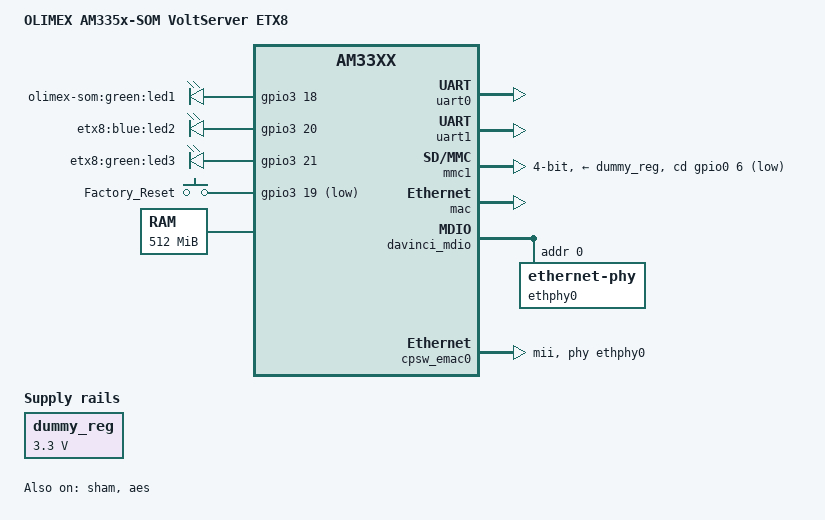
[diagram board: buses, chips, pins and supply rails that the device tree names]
/*
 * Copyright (C) 2012 Texas Instruments Incorporated - http://www.ti.com/
 *
 * This program is free software; you can redistribute it and/or modify
 * it under the terms of the GNU General Public License version 2 as
 * published by the Free Software Foundation.
 */
/dts-v1/;

#include "am33xx.dtsi"
#include <dt-bindings/pwm/pwm.h>
#include <dt-bindings/interrupt-controller/irq.h>

/ {
	model = "OLIMEX AM335x-SOM VoltServer ETX8";
	compatible = "olimex,am335x_som", "ti,am33xx";

	chosen {
		stdout-path = &uart0;
		tick-timer = &timer2;
	};

	leds: leds {
		compatible = "gpio-leds";
	};

  gpio_keys: gpio_keys {
		compatible = "gpio-keys";
	};

	memory {
		device_type = "memory";
		reg = <0x80000000 0x20000000>; /* 512 MB */
	};

	dummy_reg: regulator@0 {
		compatible = "regulator-fixed";
		regulator-name = "dummy_regulator";
		regulator-min-microvolt = <3300000>;
		regulator-max-microvolt = <3300000>;
	};
};

&leds {
  pinctrl-names = "default";
  pinctrl-0 = <&usr_led_pins_default>, <&evb_leds_pins_default>;

  led@0 {
    label = "olimex-som:green:led1";
    gpios = <&gpio3 18 GPIO_ACTIVE_HIGH>;
    linux,default-trigger = "heartbeat";
    default-state = "off";
  };

  led@1 {
    label = "etx8:blue:led2"; // red on the Olimex EVB
    gpios = <&gpio3 20 GPIO_ACTIVE_HIGH>;
    linux,default-trigger = "none"; // "mmc0"
    default-state = "off";
  };

  led@2 {
    label = "etx8:green:led3"; // yellow on the Olimex EVB
    gpios = <&gpio3 21 GPIO_ACTIVE_HIGH>;
    linux,default-trigger = "heartbeat"; // "cpu0"
    default-state = "off";
  };
};
&am33xx_pinmux {
	usr_led_pins_default: usr_led_pins_default {
		pinctrl-single,pins = <
			0x1a0 ( PIN_OUTPUT | MUX_MODE7 ) /* (B12) mcasp0_aclkr.gpio3_18 */
		>;
	};

	evb_leds_pins_default: evb_leds_pins_default {
		pinctrl-single,pins = <
			0x1a8 ( PIN_OUTPUT | MUX_MODE7 ) /* (D13) mcasp0_axr1.gpio3_20 */
			0x1ac ( PIN_OUTPUT | MUX_MODE7 ) /* (A14) mcasp0_ahclkx.gpio3_21 */
		>;
	};
};

&gpio_keys {
		label = "gpio keys";

		factory_reset {
			label = "Factory_Reset";
			linux,code = <87>; /* F11 key */
			gpios = <&gpio3 19 GPIO_ACTIVE_LOW>; // pin 35 on AM_CON-LCD header
			debounce-interval = <50>;
		};
};

&am33xx_pinmux {
  pinctrl-0 = <&gpio3_pins>;
	gpio3_pins: pinmux_gpio3_pins {
		pinctrl-single,pins = <
      0x1e4 (PIN_INPUT_PULLUP | MUX_MODE7) /* (C13) emu0.gpio3_19 */
			/*0x1e4 (PIN_INPUT_PULLUP | MUX_MODE7) /* (C14) emu0.gpio3_7 */
			/*0x1e8 (PIN_INPUT_PULLUP | MUX_MODE7) /* (B14) emu1.gpio3_8 */
		>;
  };
};


&uart0 {
	pinctrl-names = "default";
	pinctrl-0 = <&uart0_pins>;
	status = "okay";
};
&am33xx_pinmux {
  uart0_pins: uart0_pins_default {
		pinctrl-single,pins = <
			0x170 (PIN_INPUT_PULLUP | MUX_MODE0)	/* uart0_rxd.uart0_rxd */
			0x174 (PIN_OUTPUT_PULLDOWN | MUX_MODE0)	/* uart0_txd.uart0_txd */
		>;
	};
};

&uart1 {
	pinctrl-names = "default";
	pinctrl-0 = <&uart1_pins>;
	status = "okay";
};
&am33xx_pinmux {
  uart1_pins: pinmux_uart1_pins {
		pinctrl-single,pins = <
		  0x180 (PIN_INPUT_PULLUP | MUX_MODE0)	/* uart1_rxd.uart1_rxd */
			0x184 (PIN_OUTPUT_PULLDOWN | MUX_MODE0)	/* uart1_txd.uart1_txd */
		>;
	};
};

&uart4 {
	pinctrl-names = "default";
	pinctrl-0 = <&uart4_pins>;
	status = "disabled";
};
&am33xx_pinmux {
	uart4_pins: pinmux_uart4_pins {
		pinctrl-single,pins = <
			0x168 ( PIN_INPUT_PULLUP | MUX_MODE1 ) /* (E18) uart0_ctsn.uart4_rxd */
			0x16c ( PIN_OUTPUT | MUX_MODE1 ) /* (E17) uart0_rtsn.uart4_txd */
		>;
	};
};

&mmc1 {
	status = "okay";
	bus-width = <0x4>;
	pinctrl-names = "default";
	pinctrl-0 = <&mmc1_pins>;
	cd-gpios = <&gpio0 6 GPIO_ACTIVE_HIGH>;
	cd-inverted;
	vmmc-supply = <&dummy_reg>;
};
&am33xx_pinmux {
  mmc1_pins: pinmux_mmc1_pins {
		pinctrl-single,pins = <
			0x160 (PIN_INPUT | MUX_MODE7) /* spi0_cs1.gpio0_6 */
			/*
			AM33XX_PADCONF(AM335X_PIN_MMC0_DAT0, PIN_INPUT_PULLUP, MUX_MODE0)
			AM33XX_PADCONF(AM335X_PIN_MMC0_DAT1, PIN_INPUT_PULLUP, MUX_MODE0)
			AM33XX_PADCONF(AM335X_PIN_MMC0_DAT2, PIN_INPUT_PULLUP, MUX_MODE0)
			AM33XX_PADCONF(AM335X_PIN_MMC0_DAT3, PIN_INPUT_PULLUP, MUX_MODE0)
			AM33XX_PADCONF(AM335X_PIN_MMC0_CMD, PIN_INPUT_PULLUP, MUX_MODE0)
			AM33XX_PADCONF(AM335X_PIN_MMC0_CLK, PIN_INPUT_PULLUP, MUX_MODE0)
			*/
		>;
	};
};

&mac {
	pinctrl-names = "default";
	pinctrl-0 = <&cpsw1_pins>; /*, <&cpsw2_pins>; */
	status = "okay";
	/* dual_emac = <1>; */
  slaves = <1>;
};
&am33xx_pinmux {
	cpsw1_pins: pinmux_cpsw1 {
		pinctrl-single,pins = <
		  0x114 (PIN_OUTPUT_PULLDOWN | MUX_MODE2)	/* mii1_txen.rgmii1_tctl */
			0x118 (PIN_INPUT_PULLDOWN | MUX_MODE2)	/* mii1_rxdv.rgmii1_rctl */
			0x11c (PIN_OUTPUT_PULLDOWN | MUX_MODE2)	/* mii1_txd3.rgmii1_td3 */
			0x120 (PIN_OUTPUT_PULLDOWN | MUX_MODE2)	/* mii1_txd2.rgmii1_td2 */
			0x124 (PIN_OUTPUT_PULLDOWN | MUX_MODE2)	/* mii1_txd1.rgmii1_td1 */
			0x128 (PIN_OUTPUT_PULLDOWN | MUX_MODE2)	/* mii1_txd0.rgmii1_td0 */
			0x12c (PIN_OUTPUT_PULLDOWN | MUX_MODE2)	/* mii1_txclk.rgmii1_tclk */
			0x130 (PIN_INPUT_PULLDOWN | MUX_MODE2)	/* mii1_rxclk.rgmii1_rclk */
			0x134 (PIN_INPUT_PULLDOWN | MUX_MODE2)	/* mii1_rxd3.rgmii1_rd3 */
			0x138 (PIN_INPUT_PULLDOWN | MUX_MODE2)	/* mii1_rxd2.rgmii1_rd2 */
			0x13c (PIN_INPUT_PULLDOWN | MUX_MODE2)	/* mii1_rxd1.rgmii1_rd1 */
			0x140 (PIN_INPUT_PULLDOWN | MUX_MODE2)	/* mii1_rxd0.rgmii1_rd0 */
     
			/* AM33XX_PADCONF(AM335X_PIN_MII1_COL, PIN_INPUT, MUX_MODE0)	/* (H16) mii1_col.gpio3_0 */
			/* AM33XX_PADCONF(AM335X_PIN_MII1_CRS, PIN_INPUT, MUX_MODE0)	/* (H17) gmii1_crs.gmii1_crs */
			/* AM33XX_PADCONF(AM335X_PIN_MII1_RX_ER, PIN_INPUT_PULLUP, MUX_MODE0)	/* (J15) gmii1_rxer.gmii1_rxer */
			/* AM33XX_PADCONF(AM335X_PIN_RMII1_REF_CLK, PIN_INPUT_PULLUP, MUX_MODE7)	/* rmii2_refclk.gpio0_29 */
		>;
	};
};

&davinci_mdio {
	pinctrl-names = "default";
	pinctrl-0 = <&davinci_mdio_default>;
	status = "okay";

	ethphy0: ethernet-phy@0 {
		reg = <0>;
	};
};
&am33xx_pinmux {
  davinci_mdio_default: davinci_mdio_default {
		pinctrl-single,pins = <
			0x148 (PIN_INPUT_PULLUP | SLEWCTRL_FAST | MUX_MODE0)	/* mdio_data.mdio_data */
			0x14c (PIN_OUTPUT_PULLUP | MUX_MODE0)			/* mdio_clk.mdio_clk */
		>;
	};
};

&cpsw_emac0 {
	phy-handle = <&ethphy0>;
	phy-mode = "mii";
};

&sham {
	status = "okay";
};

&aes {
	status = "okay";
};

